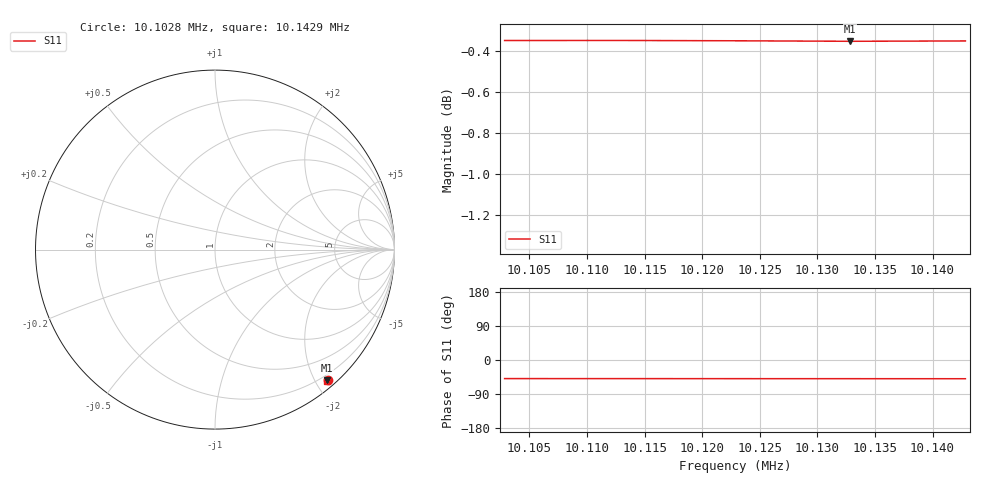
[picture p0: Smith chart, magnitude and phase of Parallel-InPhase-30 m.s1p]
# HZ S RI R 50
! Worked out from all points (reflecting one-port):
!   5 points, 10.1028 MHz to 10.1429 MHz, reference 50 ohm
!   lowest |S11| = -0.4 dB at 10.1329 MHz (marker M1), VSWR 49.04, Z = 5.84 - j109 ohm
!   phase of S11 starts at -49 deg and turns -0 deg over the sweep
1.010284e7  0.6293 -0.7255
1.011284e7  0.6283 -0.7265
1.012285e7  0.6268 -0.7275
1.013285e7  0.6256 -0.7282
1.014286e7  0.6243 -0.7296
